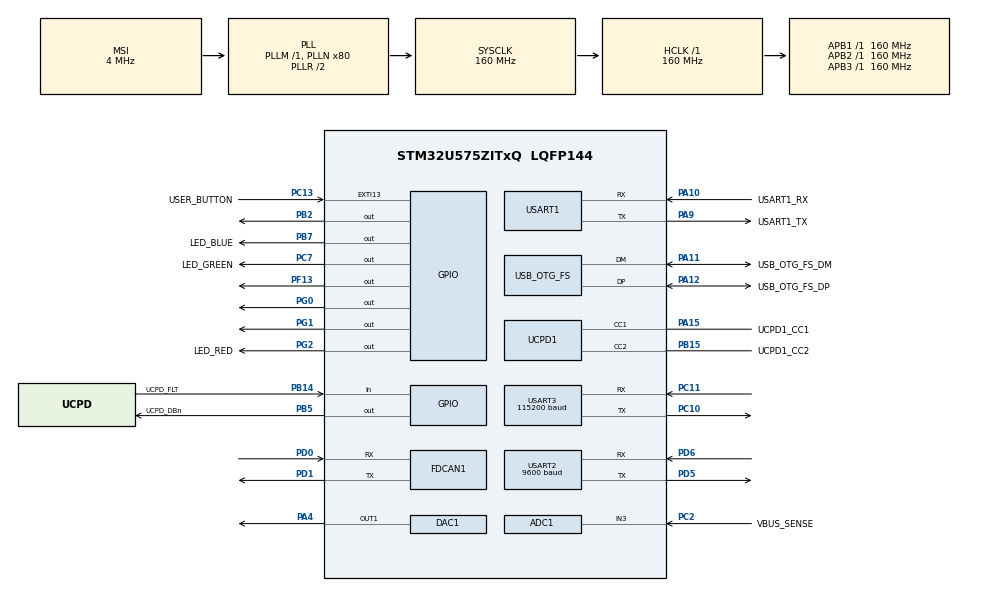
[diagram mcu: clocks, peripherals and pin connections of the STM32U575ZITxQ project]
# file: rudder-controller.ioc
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ADC1.NbrOfConversion=1
ADC1.Resolution=ADC_RESOLUTION_14B
ADC1.master=1
CORTEX_M33_NS.userName=CORTEX_M33
DAC1.DAC_Channel-DAC_OUT1=DAC_CHANNEL_1
FDCAN1.AutoRetransmission=ENABLE
FDCAN1.CalculateBaudRateNominal=500000
FDCAN1.CalculateTimeBitNominal=2000
FDCAN1.CalculateTimeQuantumNominal=100.0
FDCAN1.ClockDivider=FDCAN_CLOCK_DIV4
FDCAN1.DataSyncJumpWidth=16
FDCAN1.DataTimeSeg1=23
FDCAN1.DataTimeSeg2=16
FDCAN1.ExtFiltersNbr=1
FDCAN1.FrameFormat=FDCAN_FRAME_FD_BRS
FDCAN1.NominalPrescaler=4
FDCAN1.NominalSyncJumpWidth=3
FDCAN1.NominalTimeSeg1=16
FDCAN1.NominalTimeSeg2=3
FDCAN1.StdFiltersNbr=1
GPDMA1.CIRCULARMODE_GPDMACH15=ENABLE
GPDMA1.DESTINC_GPDMACH15=DMA_DINC_INCREMENTED
GPDMA1.DESTINC_GPDMACH9=DMA_DINC_INCREMENTED
GPDMA1.IPHANDLE_GPDMACH15-SIMPLEREQUEST_GPDMACH15=__NULL
GPDMA1.IPHANDLE_GPDMACH9-SIMPLEREQUEST_GPDMACH9=__NULL
GPDMA1.REQUEST_GPDMACH15=GPDMA1_REQUEST_USART3_RX
GPDMA1.REQUEST_GPDMACH9=GPDMA1_REQUEST_USART2_RX
Mcu.Family=STM32U5
Mcu.Name=STM32U575ZITxQ
Mcu.Package=LQFP144
NVIC.FDCAN1_IT0_IRQn=true\:0\:0\:false\:false\:true\:true\:true\:true
NVIC.GPDMA1_Channel15_IRQn=true\:0\:0\:false\:false\:true\:false\:true\:true
NVIC.GPDMA1_Channel9_IRQn=true\:0\:0\:false\:false\:true\:false\:true\:true
NVIC.OTG_FS_IRQn=true\:0\:0\:false\:false\:true\:true\:true\:true
NVIC.PriorityGroup=NVIC_PRIORITYGROUP_3
NVIC.TIM7_IRQn=true\:0\:0\:false\:false\:true\:true\:true\:true
NVIC.USART2_IRQn=true\:0\:0\:false\:false\:true\:true\:true\:true
NVIC.USART3_IRQn=true\:0\:0\:false\:false\:true\:true\:true\:true
PA10.GPIO_Label=USART1_RX
PA10.GPIO_PuPd=GPIO_PULLDOWN
PA10.GPIO_Speed=GPIO_SPEED_FREQ_VERY_HIGH
PA10.Mode=Asynchronous
PA10.Signal=USART1_RX
PA11.GPIO_Label=USB_OTG_FS_DM
PA11.GPIO_Speed=GPIO_SPEED_FREQ_VERY_HIGH
PA11.Mode=Device_Only
PA11.Signal=USB_OTG_FS_DM
PA12.GPIO_Label=USB_OTG_FS_DP
PA12.GPIO_Speed=GPIO_SPEED_FREQ_VERY_HIGH
PA12.Mode=Device_Only
PA12.Signal=USB_OTG_FS_DP
PA13\ (JTMS/SWDIO).Mode=Trace_Asynchronous_SW
PA13\ (JTMS/SWDIO).Signal=DEBUG_JTMS-SWDIO
PA14\ (JTCK/SWCLK).Mode=Trace_Asynchronous_SW
PA14\ (JTCK/SWCLK).Signal=DEBUG_JTCK-SWCLK
PA15\ (JTDI).GPIO_Label=UCPD1_CC1
PA15\ (JTDI).Mode=Sink_AllSignals
PA15\ (JTDI).Signal=UCPD1_CC1
PA4.Signal=COMP_DAC11_group
PA9.GPIO_Label=USART1_TX
PA9.GPIO_PuPd=GPIO_PULLDOWN
PA9.GPIO_Speed=GPIO_SPEED_FREQ_VERY_HIGH
PA9.Mode=Asynchronous
PA9.Signal=USART1_TX
PB14.GPIO_Label=UCPD_FLT
PB14.Signal=GPIO_Input
PB15.GPIO_Label=UCPD1_CC2
PB15.Mode=Sink_AllSignals
PB15.Signal=UCPD1_CC2
PB2.Signal=GPIO_Output
PB3\ (JTDO/TRACESWO).Mode=Trace_Asynchronous_SW
PB3\ (JTDO/TRACESWO).Signal=DEBUG_JTDO-SWO
PB5.GPIO_Label=UCPD_DBn
PB5.Signal=GPIO_Output
PB7.GPIO_Label=LED_BLUE
PB7.GPIO_ModeDefaultOutputPP=GPIO_MODE_OUTPUT_PP
PB7.GPIO_PuPd=GPIO_PULLUP
PB7.GPIO_Speed=GPIO_SPEED_FREQ_HIGH
PB7.Signal=GPIO_Output
PC10.Mode=Asynchronous
PC10.Signal=USART3_TX
PC11.Mode=Asynchronous
PC11.Signal=USART3_RX
PC13.GPIO_Label=USER_BUTTON
PC13.GPIO_ModeDefaultEXTI=GPIO_MODE_IT_FALLING
PC13.Signal=GPXTI13
PC14-OSC32_IN\ (PC14).Mode=LSE-External-Oscillator
PC14-OSC32_IN\ (PC14).Signal=RCC_OSC32_IN
PC15-OSC32_OUT\ (PC15).Mode=LSE-External-Oscillator
PC15-OSC32_OUT\ (PC15).Signal=RCC_OSC32_OUT
PC2.GPIO_Label=VBUS_SENSE
PC2.Mode=IN3-Single-Ended
PC2.Signal=ADC1_IN3
PC7.GPIO_Label=LED_GREEN
PC7.GPIO_PuPd=GPIO_PULLUP
PC7.GPIO_Speed=GPIO_SPEED_FREQ_HIGH
PC7.Signal=GPIO_Output
PD0.Mode=FDCAN_Activate
PD0.Signal=FDCAN1_RX
PD1.Mode=FDCAN_Activate
PD1.Signal=FDCAN1_TX
PD5.Mode=Asynchronous
PD5.Signal=USART2_TX
PD6.Mode=Asynchronous
PD6.Signal=USART2_RX
PF13.Signal=GPIO_Output
PG0.Signal=GPIO_Output
PG1.GPIO_PuPd=GPIO_PULLDOWN
PG1.Signal=GPIO_Output
PG2.GPIO_Label=LED_RED
PG2.GPIO_ModeDefaultOutputPP=GPIO_MODE_OUTPUT_PP
PG2.GPIO_PuPd=GPIO_PULLUP
PG2.GPIO_Speed=GPIO_SPEED_FREQ_HIGH
PG2.Signal=GPIO_Output
PWR.PowerMode=PWR_SMPS_SUPPLY
ProjectManager.HeapSize=0x200
ProjectManager.StackSize=0x400
ProjectManager.TargetToolchain=STM32CubeIDE
RCC.ADCFreq_Value=16000000
RCC.AHBFreq_Value=160000000
RCC.APB1Freq_Value=160000000
RCC.APB1TimFreq_Value=160000000
RCC.APB2Freq_Value=160000000
RCC.APB2TimFreq_Value=160000000
RCC.APB3Freq_Value=160000000
RCC.CortexFreq_Value=160000000
RCC.DACCLockSelectionVirtual=RCC_DAC1CLKSOURCE_LSI
RCC.EPOD_VALUE=4000000
RCC.HCLKFreq_Value=160000000
RCC.HSE_VALUE=16000000
RCC.HSI48_VALUE=48000000
RCC.HSI_VALUE=16000000
RCC.LSIDIV_VALUE=32000
RCC.MSI_VALUE=4000000
RCC.PLLFRACN=0
RCC.PLLN=80
RCC.SYSCLKFreq_VALUE=160000000
RCC.SYSCLKSource=RCC_SYSCLKSOURCE_PLLCLK
RCC.USBFreq_Value=48000000
RCC.VCOOutputFreq_Value=320000000
SH.COMP_DAC11_group.0=DAC1_OUT1,DAC_OUT1
TIM7.AutoReloadPreload=TIM_AUTORELOAD_PRELOAD_ENABLE
TIM7.PeriodNoDither=49999
TIM7.Prescaler=31999
USART1.VirtualMode-Asynchronous=VM_ASYNC
USART2.BaudRate=9600
USART2.VirtualMode-Asynchronous=VM_ASYNC
USART3.BaudRate=115200
USART3.VirtualMode-Asynchronous=VM_ASYNC
USB_OTG_FS.VirtualMode=Device_Only
VP_GPDMA1_VS_GPDMACH15.Mode=SIMPLEREQUEST_GPDMACH15
VP_GPDMA1_VS_GPDMACH9.Mode=SIMPLEREQUEST_GPDMACH9
VP_ICACHE_VS_ENABLE_ICACHE_MEMORY.Mode=Memoryregions
VP_ICACHE_VS_ICACHE.Mode=DirectMappedCache
VP_LPBAMQUEUE_VS_QUEUE.Mode=QUEUEMODE
VP_LPBAM_VS_SIG1.Mode=SmartRun
VP_LPBAM_VS_SIG4.Mode=LPDMA1
VP_MEMORYMAP_VS_MEMORYMAP.Mode=CurAppReg
VP_PWR_VS_DBSignals.Mode=DisableDeadBatterySignals
VP_PWR_VS_LPOM.Mode=PowerOptimisation
VP_PWR_VS_SECSignals.Mode=Security/Privilege
VP_PWR_Vdda.Mode=isolationVdda
VP_TIM7_VS_ClockSourceINT.Mode=Enable_Timer
board=NUCLEO-U575ZI-Q

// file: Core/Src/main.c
/* USER CODE BEGIN Header */
/**
  ******************************************************************************
  * @file           : main.c
  * @brief          : Main program body
  ******************************************************************************
  * @attention
  *
  * Copyright (c) 2025 STMicroelectronics.
  * All rights reserved.
  *
  * This software is licensed under terms that can be found in the LICENSE file
  * in the root directory of this software component.
  * If no LICENSE file comes with this software, it is provided AS-IS.
  *
  ******************************************************************************
  */
/* USER CODE END Header */
#include "main.h"

/* USER CODE BEGIN Includes */

#include "RUDDER.h"
#include "RUDDER_PARAMS.h"
#include "RUDDER_UTILS.h"
//#include "RUDDERPID.h"
#include "BRITER.h"
#include "PLRS_IMU.h"
#include <stdio.h>
#include <stdlib.h>
#include <can.h>
#include <string.h>

/* USER CODE END Includes */

/* USER CODE BEGIN PM */
//#define ZEROING_CALIBRATION

#define CAN_TX_DELAY_MS 100
#define RUDDER_TO_MAINFRAME_DEBUG_ID 0x204
#define RUDDER_PID_COEFFS 0x200
#define CONTROL_MODEL_PARAMS_ID 0x210
#define IMU_HEADING_TIMEOUT_MS 200
#define IMU_ATTITUDE_TIMEOUT_MS 200
/* USER CODE END PM */

ADC_HandleTypeDef hadc1;

DAC_HandleTypeDef hdac1;

FDCAN_HandleTypeDef hfdcan1;

TIM_HandleTypeDef htim7;

UART_HandleTypeDef huart1;
UART_HandleTypeDef huart2;
UART_HandleTypeDef huart3;
DMA_HandleTypeDef handle_GPDMA1_Channel9;
DMA_NodeTypeDef Node_GPDMA1_Channel15;
DMA_QListTypeDef List_GPDMA1_Channel15;
DMA_HandleTypeDef handle_GPDMA1_Channel15;

PCD_HandleTypeDef hpcd_USB_OTG_FS;

/* USER CODE BEGIN PV */
FDCAN_FilterTypeDef sFilterConfig;
FDCAN_TxHeaderTypeDef TxHeader1;
FDCAN_RxHeaderTypeDef RxHeader1;
FDCAN_RxHeaderTypeDef RxHeader2;
uint8_t RxData1[64];
uint8_t RxData2[64];
//HAL_StatusTypeDef CanStartStatus; Commented out arbitrarily

float desiredRudderAngle;

uint8_t rudder_debug_frame[16] = {0};

PLRS_IMU imu;

uint32_t can_tx_failures = 0;
uint32_t can_rx_failures = 0;

//0 = auto mode, 1 = manual
uint8_t controller_mode = 1;

/* USER CODE END PV */

void SystemClock_Config(void);
static void SystemPower_Config(void);
static void MX_GPIO_Init(void);
static void MX_GPDMA1_Init(void);
static void MX_ICACHE_Init(void);
static void MX_UCPD1_Init(void);
static void MX_ADC1_Init(void);
static void MX_USB_OTG_FS_PCD_Init(void);
static void MX_USART2_UART_Init(void);
static void MX_USART1_UART_Init(void);
static void MX_DAC1_Init(void);
static void MX_FDCAN1_Init(void);
static void MX_USART3_UART_Init(void);
static void MX_TIM7_Init(void);
/* USER CODE BEGIN PFP */
#ifdef __GNUC__
/* With GCC/RAISONANCE, small printf (option LD Linker->Libraries->Small printf
   set to 'Yes') calls __io_putchar() */
#define PUTCHAR_PROTOTYPE int __io_putchar(int ch)
#else
#define PUTCHAR_PROTOTYPE int fputc(int ch, FILE *f)
#endif /* __GNUC__ */

static uint8_t byte_to_dlc(uint8_t len);
static uint8_t dlc_to_bytes(uint8_t len);
/* USER CODE END PFP */

/* USER CODE BEGIN 0 */

BRITER * encoderObject;
int get_encoder_delta(int prev, int curr) {
      int delta = curr - prev;
      if (delta > 512) delta -= 1024;
      if (delta < -512) delta += 1024;
      return delta;
  }

/* USER CODE END 0 */

int main(void)
{

  /* MCU Configuration--------------------------------------------------------*/

  /* Reset of all peripherals, Initializes the Flash interface and the Systick. */
  HAL_Init();

  /* Configure the System Power */
  SystemPower_Config();

  /* Configure the system clock */
  SystemClock_Config();

  /* USER CODE BEGIN SysInit */
  PIDControllerFixed fixedController = getRudderFixedParams();
  initController(fixedController);

//  float desiredRudderAngle = 0.0f;
  /* USER CODE END SysInit */

  /* Initialize all configured peripherals */
  MX_GPIO_Init();
  MX_GPDMA1_Init();
  MX_ICACHE_Init();
  MX_UCPD1_Init();
  MX_ADC1_Init();
  MX_USB_OTG_FS_PCD_Init();
  MX_USART2_UART_Init();
  MX_USART1_UART_Init();
  MX_DAC1_Init();
  MX_FDCAN1_Init();
  MX_USART3_UART_Init();
  MX_TIM7_Init();
  /* USER CODE BEGIN 2 */

  //CAN Setup

    // CAN Library setup

    CAN_Init(&hfdcan1, 0x131); //put in hbid

    // /* Configure standard ID reception filter to Rx buffer 0 */
    // sFilterConfig.IdType = FDCAN_STANDARD_ID;
    // sFilterConfig.FilterIndex = 0;
    // sFilterConfig.FilterType = FDCAN_FILTER_RANGE;
    // sFilterConfig.FilterConfig = FDCAN_FILTER_TO_RXFIFO0;
    // sFilterConfig.FilterID1 = 0x000;
    // sFilterConfig.FilterID2 = 0x7FF;
    // if (HAL_FDCAN_ConfigFilter(&hfdcan1, &sFilterConfig) != HAL_OK)
    // {
    //   Error_Handler();
    // }

    // /* Configure extended ID reception filter to Rx FIFO 1 */
    // sFilterConfig.IdType = FDCAN_EXTENDED_ID;
    // sFilterConfig.FilterIndex = 0;
    // sFilterConfig.FilterType = FDCAN_FILTER_RANGE_NO_EIDM;
    // sFilterConfig.FilterConfig = FDCAN_FILTER_TO_RXFIFO1;
    // sFilterConfig.FilterID1 = 0x1111111;
    // sFilterConfig.FilterID2 = 0x2222222;
    // if (HAL_FDCAN_ConfigFilter(&hfdcan1, &sFilterConfig) != HAL_OK)
    // {
    //   Error_Handler();
    // }

    // /* Configure global filter:
    //    Filter all remote frames with STD and EXT ID
    //    Reject non matching frames with STD ID and EXT ID */
    // if (HAL_FDCAN_ConfigGlobalFilter(&hfdcan1, FDCAN_ACCEPT_IN_RX_FIFO0, FDCAN_ACCEPT_IN_RX_FIFO0, FDCAN_FILTER_REMOTE, FDCAN_FILTER_REMOTE) != HAL_OK)
    // {
    //     Error_Handler();
    // }

    // /*##-2 Start FDCAN controller (continuous listening CAN bus) ##############*/
    // CanStartStatus = HAL_FDCAN_Start(&hfdcan1);
    // if (CanStartStatus != HAL_OK)
    // {
    //   Error_Handler();
    // }

    // if (HAL_FDCAN_ActivateNotification(&hfdcan1, FDCAN_IT_RX_FIFO0_NEW_MESSAGE, 0) != HAL_OK)
    // {
    //   Error_Handler();
    // }

    // if (HAL_FDCAN_ActivateNotification(&hfdcan1, FDCAN_IT_RX_FIFO1_NEW_MESSAGE, 0) != HAL_OK)
    // {
    //   Error_Handler();
    // }

    uint32_t can_frame_tx_time = HAL_GetTick();
    HAL_GPIO_WritePin(GPIOG, GPIO_PIN_0, GPIO_PIN_SET);
    HAL_GPIO_WritePin(GPIOB, GPIO_PIN_2, GPIO_PIN_SET);
    encoderObject = BRITER__create(&huart2, 20);
    MOTOR_CONFIG motorConfig = {
            .motorDacPeripheral = &hdac1,
            .motorDacChannel = DAC_CHANNEL_1,
            .enableGPIOPeripheral = GPIOG,
            .enableGPIOPin = GPIO_PIN_1,
            .reverseGPIOPeripheral = GPIOF,
            .reverseGPIOPin = GPIO_PIN_13
      };
    Setup_Motor(motorConfig);
    HAL_Delay(1000);
   Set_Motor_Raw(0);

   HAL_Delay(2000);
   Enable_Motor();

    PLRS_IMU__init(&imu, &huart3);

  /* USER CODE END 2 */

  /* Infinite loop */
  /* USER CODE BEGIN WHILE */
  while (1)
  {
	  PLRS_IMU__service(&imu);

	  float imuHeading;
	  if (PLRS_IMU__isFresh(&imu, IMU_HEADING_TIMEOUT_MS) &&
	      PLRS_IMU__getHeading(&imu, &imuHeading)) {
	    // Link reports compass degrees in -180..180; the control model and the
	    // desired heading from CAN use 0..360.
	    if (imuHeading < 0.0f) imuHeading += 360.0f;

	    // heading_valid gates the CONTROL input only: a free-drifting heading
	    // (no GNSS anchor) must not steer, so currentHeading holds the last
	    // valid value. Telemetry still publishes every fresh heading, with the
	    // valid flag in byte 5 so the mainframe can judge it.
	    if (PLRS_IMU__isHeadingValid(&imu)) {
	      controller.live.sailingState.currentHeading = imuHeading;
	    }

	    uint16_t heading_cd = (uint16_t)(imuHeading * 100.0f);
	    rudder_debug_frame[5] = PLRS_IMU__isHeadingValid(&imu) ? 1 : 0;
	    rudder_debug_frame[6] = heading_cd & 0xFF;
	    rudder_debug_frame[7] = (heading_cd >> 8) & 0xFF;
	  }

	  float imuHeel, imuYawRate;
	  if (PLRS_IMU__isAttitudeFresh(&imu, IMU_ATTITUDE_TIMEOUT_MS) &&
	      PLRS_IMU__getHeel(&imu, &imuHeel) &&
	      PLRS_IMU__getYawRate(&imu, &imuYawRate)) {
	    controller.live.sailingState.heelAngle = imuHeel;
	    // Control model expects rad/s; the link reports deg/s.
	    controller.live.sailingState.angularVelocity = imuYawRate * 0.0174532925f;
	  }
	  HAL_Delay(50);
//	  printf("here\r\n");

	#ifdef ZEROING_CALIBRATION
	  encoderZeroing(&huart1, encoderObject);
	#endif
//
	  if (controller_mode == 0)
		  runPID(&desiredRudderAngle);

    	  	//Update CAN frame
    uint16_t currentError = controller.live.liveValues.errorValue * 100;
//    printf("current error: %f \r\n", controller.live.liveValues.errorValue);
    rudder_debug_frame[14] = currentError & 0xFF;
    rudder_debug_frame[15] = (((uint16_t) currentError) >> 8) & 0xFF;

    uint16_t currentDerivative = (controller.live.liveValues.derivativeValue + 300) * 100;
    rudder_debug_frame[12] = currentDerivative & 0xFF;
//    printf("currentderivative: %f \r\n", controller.live.liveValues.derivativeValue);
    rudder_debug_frame[13] = (((uint16_t) currentDerivative) >> 8) & 0xFF;

    uint16_t currentIntegral = controller.live.liveValues.integralValue + 30000;
    rudder_debug_frame[10] = currentIntegral & 0xFF;
//    printf("current integral: %u \r\n", currentIntegral);
    rudder_debug_frame[11] = (((uint16_t) currentIntegral) >> 8) & 0xFF;

    uint16_t current_rudder_angle = (BRITER__floatAngle(encoderObject) + 90) * 100;
    rudder_debug_frame[0] = current_rudder_angle & 0xFF;
    rudder_debug_frame[1] = (((uint16_t) current_rudder_angle) >> 8) & 0xFF;
//    printf("Rudder angle: %f\r\n", BRITER__floatAngle(encoderObject));

    uint16_t commanded_rudder_angle = (desiredRudderAngle + 90) * 100;
//    printf("Commanded rudder angle: %hu\n desiredRudderAngle: %f\n", commanded_rudder_angle, desiredRudderAngle);
	rudder_debug_frame[8] = commanded_rudder_angle & 0xFF;
	rudder_debug_frame[9] = (((uint16_t) commanded_rudder_angle) >> 8) & 0xFF;

	  //Transmit CAN message after so long
	  // if (can_frame_tx_time + CAN_TX_DELAY_MS < HAL_GetTick()){
		//   TxHeader1.Identifier         = RUDDER_TO_MAINFRAME_DEBUG_ID;
		//   TxHeader1.IdType             = (RUDDER_TO_MAINFRAME_DEBUG_ID>0x7FF) ? FDCAN_EXTENDED_ID : FDCAN_STANDARD_ID;
		//   TxHeader1.TxFrameType        = FDCAN_DATA_FRAME;
		//   TxHeader1.DataLength         = byte_to_dlc(16);  /* HAL expects DLC in bits [19:16] */
		//   TxHeader1.ErrorStateIndicator= FDCAN_ESI_ACTIVE;
		//   TxHeader1.BitRateSwitch      = FDCAN_BRS_ON;
		//   TxHeader1.FDFormat           = FDCAN_FD_CAN;
		//   TxHeader1.TxEventFifoControl = FDCAN_STORE_TX_EVENTS;

		//   if (HAL_FDCAN_AddMessageToTxFifoQ(&hfdcan1,&TxHeader1,rudder_debug_frame)!=HAL_OK) {
		// 	printf("Err: CAN TX\r\n");
		//   }
	  // }

    if (can_frame_tx_time + CAN_TX_DELAY_MS < HAL_GetTick()){
      if(CAN_Transmit(RUDDER_TO_MAINFRAME_DEBUG_ID, FDCAN_STANDARD_ID, FDCAN_DLC_BYTES_16, rudder_debug_frame, &hfdcan1) != HAL_OK){
        can_tx_failures++;
      }
      can_frame_tx_time = HAL_GetTick();
    }

//    printf("Running\r\n");

	}

    /* USER CODE END WHILE */

}

void SystemClock_Config(void)
{
  RCC_OscInitTypeDef RCC_OscInitStruct = {0};
  RCC_ClkInitTypeDef RCC_ClkInitStruct = {0};

  /** Configure the main internal regulator output voltage
  */
  if (HAL_PWREx_ControlVoltageScaling(PWR_REGULATOR_VOLTAGE_SCALE1) != HAL_OK)
  {
    Error_Handler();
  }

  /** Initializes the CPU, AHB and APB buses clocks
  */
  RCC_OscInitStruct.OscillatorType = RCC_OSCILLATORTYPE_HSI48|RCC_OSCILLATORTYPE_HSI
                              |RCC_OSCILLATORTYPE_LSI|RCC_OSCILLATORTYPE_MSI;
  RCC_OscInitStruct.HSIState = RCC_HSI_ON;
  RCC_OscInitStruct.HSI48State = RCC_HSI48_ON;
  RCC_OscInitStruct.HSICalibrationValue = RCC_HSICALIBRATION_DEFAULT;
  RCC_OscInitStruct.LSIState = RCC_LSI_ON;
  RCC_OscInitStruct.MSIState = RCC_MSI_ON;
  RCC_OscInitStruct.MSICalibrationValue = RCC_MSICALIBRATION_DEFAULT;
  RCC_OscInitStruct.MSIClockRange = RCC_MSIRANGE_4;
  RCC_OscInitStruct.LSIDiv = RCC_LSI_DIV1;
  RCC_OscInitStruct.PLL.PLLState = RCC_PLL_ON;
  RCC_OscInitStruct.PLL.PLLSource = RCC_PLLSOURCE_MSI;
  RCC_OscInitStruct.PLL.PLLMBOOST = RCC_PLLMBOOST_DIV1;
  RCC_OscInitStruct.PLL.PLLM = 1;
  RCC_OscInitStruct.PLL.PLLN = 80;
  RCC_OscInitStruct.PLL.PLLP = 2;
  RCC_OscInitStruct.PLL.PLLQ = 2;
  RCC_OscInitStruct.PLL.PLLR = 2;
  RCC_OscInitStruct.PLL.PLLRGE = RCC_PLLVCIRANGE_0;
  RCC_OscInitStruct.PLL.PLLFRACN = 0;
  if (HAL_RCC_OscConfig(&RCC_OscInitStruct) != HAL_OK)
  {
    Error_Handler();
  }

  /** Initializes the CPU, AHB and APB buses clocks
  */
  RCC_ClkInitStruct.ClockType = RCC_CLOCKTYPE_HCLK|RCC_CLOCKTYPE_SYSCLK
                              |RCC_CLOCKTYPE_PCLK1|RCC_CLOCKTYPE_PCLK2
                              |RCC_CLOCKTYPE_PCLK3;
  RCC_ClkInitStruct.SYSCLKSource = RCC_SYSCLKSOURCE_PLLCLK;
  RCC_ClkInitStruct.AHBCLKDivider = RCC_SYSCLK_DIV1;
  RCC_ClkInitStruct.APB1CLKDivider = RCC_HCLK_DIV1;
  RCC_ClkInitStruct.APB2CLKDivider = RCC_HCLK_DIV1;
  RCC_ClkInitStruct.APB3CLKDivider = RCC_HCLK_DIV1;

  if (HAL_RCC_ClockConfig(&RCC_ClkInitStruct, FLASH_LATENCY_4) != HAL_OK)
  {
    Error_Handler();
  }
}

/**
  * @brief Power Configuration
  * @retval None
  */
static void SystemPower_Config(void)
{
  HAL_PWREx_EnableVddIO2();

  /*
   * Switch to SMPS regulator instead of LDO
   */
  if (HAL_PWREx_ConfigSupply(PWR_SMPS_SUPPLY) != HAL_OK)
  {
    Error_Handler();
  }
}

static void MX_ADC1_Init(void)
{

  /** Common config
  */
  hadc1.Instance = ADC1;
  hadc1.Init.ClockPrescaler = ADC_CLOCK_ASYNC_DIV1;
  hadc1.Init.Resolution = ADC_RESOLUTION_14B;
  hadc1.Init.GainCompensation = 0;
  hadc1.Init.ScanConvMode = ADC_SCAN_DISABLE;
  hadc1.Init.EOCSelection = ADC_EOC_SINGLE_CONV;
  hadc1.Init.LowPowerAutoWait = DISABLE;
  hadc1.Init.ContinuousConvMode = DISABLE;
  hadc1.Init.NbrOfConversion = 1;
  hadc1.Init.DiscontinuousConvMode = DISABLE;
  hadc1.Init.DMAContinuousRequests = DISABLE;
  hadc1.Init.TriggerFrequencyMode = ADC_TRIGGER_FREQ_HIGH;
  hadc1.Init.Overrun = ADC_OVR_DATA_PRESERVED;
  hadc1.Init.LeftBitShift = ADC_LEFTBITSHIFT_NONE;
  hadc1.Init.ConversionDataManagement = ADC_CONVERSIONDATA_DR;
  hadc1.Init.OversamplingMode = DISABLE;
  if (HAL_ADC_Init(&hadc1) != HAL_OK)
  {
    Error_Handler();
  }

}

static void MX_DAC1_Init(void)
{

  DAC_ChannelConfTypeDef sConfig = {0};
  DAC_AutonomousModeConfTypeDef sAutonomousMode = {0};

  /** DAC Initialization
  */
  hdac1.Instance = DAC1;
  if (HAL_DAC_Init(&hdac1) != HAL_OK)
  {
    Error_Handler();
  }

  /** DAC channel OUT1 config
  */
  sConfig.DAC_HighFrequency = DAC_HIGH_FREQUENCY_INTERFACE_MODE_DISABLE;
  sConfig.DAC_DMADoubleDataMode = DISABLE;
  sConfig.DAC_SignedFormat = DISABLE;
  sConfig.DAC_SampleAndHold = DAC_SAMPLEANDHOLD_DISABLE;
  sConfig.DAC_Trigger = DAC_TRIGGER_NONE;
  sConfig.DAC_OutputBuffer = DAC_OUTPUTBUFFER_DISABLE;
  sConfig.DAC_ConnectOnChipPeripheral = DAC_CHIPCONNECT_EXTERNAL;
  sConfig.DAC_UserTrimming = DAC_TRIMMING_FACTORY;
  if (HAL_DAC_ConfigChannel(&hdac1, &sConfig, DAC_CHANNEL_1) != HAL_OK)
  {
    Error_Handler();
  }

  /** Configure Autonomous Mode
  */
  sAutonomousMode.AutonomousModeState = DAC_AUTONOMOUS_MODE_DISABLE;
  if (HAL_DACEx_SetConfigAutonomousMode(&hdac1, &sAutonomousMode) != HAL_OK)
  {
    Error_Handler();
  }

}

static void MX_FDCAN1_Init(void)
{

  hfdcan1.Instance = FDCAN1;
  hfdcan1.Init.ClockDivider = FDCAN_CLOCK_DIV4;
  hfdcan1.Init.FrameFormat = FDCAN_FRAME_FD_BRS;
  hfdcan1.Init.Mode = FDCAN_MODE_NORMAL;
  hfdcan1.Init.AutoRetransmission = ENABLE;
  hfdcan1.Init.TransmitPause = DISABLE;
  hfdcan1.Init.ProtocolException = DISABLE;
  hfdcan1.Init.NominalPrescaler = 4;
  hfdcan1.Init.NominalSyncJumpWidth = 3;
  hfdcan1.Init.NominalTimeSeg1 = 16;
  hfdcan1.Init.NominalTimeSeg2 = 3;
  hfdcan1.Init.DataPrescaler = 1;
  hfdcan1.Init.DataSyncJumpWidth = 16;
  hfdcan1.Init.DataTimeSeg1 = 23;
  hfdcan1.Init.DataTimeSeg2 = 16;
  hfdcan1.Init.StdFiltersNbr = 1;
  hfdcan1.Init.ExtFiltersNbr = 1;
  hfdcan1.Init.TxFifoQueueMode = FDCAN_TX_FIFO_OPERATION;
  if (HAL_FDCAN_Init(&hfdcan1) != HAL_OK)
  {
    Error_Handler();
  }

}

static void MX_GPDMA1_Init(void)
{

  /* Peripheral clock enable */
  __HAL_RCC_GPDMA1_CLK_ENABLE();

  /* GPDMA1 interrupt Init */
    HAL_NVIC_SetPriority(GPDMA1_Channel9_IRQn, 0, 0);
    HAL_NVIC_EnableIRQ(GPDMA1_Channel9_IRQn);
    HAL_NVIC_SetPriority(GPDMA1_Channel15_IRQn, 0, 0);
    HAL_NVIC_EnableIRQ(GPDMA1_Channel15_IRQn);

}

static void MX_ICACHE_Init(void)
{

  /** Enable instruction cache in 1-way (direct mapped cache)
  */
  if (HAL_ICACHE_ConfigAssociativityMode(ICACHE_1WAY) != HAL_OK)
  {
    Error_Handler();
  }
  if (HAL_ICACHE_Enable() != HAL_OK)
  {
    Error_Handler();
  }

}

static void MX_TIM7_Init(void)
{

  TIM_MasterConfigTypeDef sMasterConfig = {0};

  htim7.Instance = TIM7;
  htim7.Init.Prescaler = 31999;
  htim7.Init.CounterMode = TIM_COUNTERMODE_UP;
  htim7.Init.Period = 49999;
  htim7.Init.AutoReloadPreload = TIM_AUTORELOAD_PRELOAD_ENABLE;
  if (HAL_TIM_Base_Init(&htim7) != HAL_OK)
  {
    Error_Handler();
  }
  sMasterConfig.MasterOutputTrigger = TIM_TRGO_RESET;
  sMasterConfig.MasterSlaveMode = TIM_MASTERSLAVEMODE_DISABLE;
  if (HAL_TIMEx_MasterConfigSynchronization(&htim7, &sMasterConfig) != HAL_OK)
  {
    Error_Handler();
  }

}

static void MX_UCPD1_Init(void)
{

  LL_GPIO_InitTypeDef GPIO_InitStruct = {0};

  /* Peripheral clock enable */
  LL_APB1_GRP2_EnableClock(LL_APB1_GRP2_PERIPH_UCPD1);

  LL_AHB2_GRP1_EnableClock(LL_AHB2_GRP1_PERIPH_GPIOB);
  LL_AHB2_GRP1_EnableClock(LL_AHB2_GRP1_PERIPH_GPIOA);
  /**UCPD1 GPIO Configuration
  PB15   ------> UCPD1_CC2
  PA15 (JTDI)   ------> UCPD1_CC1
  */
  GPIO_InitStruct.Pin = LL_GPIO_PIN_15;
  GPIO_InitStruct.Mode = LL_GPIO_MODE_ANALOG;
  GPIO_InitStruct.Pull = LL_GPIO_PULL_NO;
  LL_GPIO_Init(GPIOB, &GPIO_InitStruct);

  GPIO_InitStruct.Pin = LL_GPIO_PIN_15;
  GPIO_InitStruct.Mode = LL_GPIO_MODE_ANALOG;
  GPIO_InitStruct.Pull = LL_GPIO_PULL_NO;
  LL_GPIO_Init(GPIOA, &GPIO_InitStruct);

}

static void MX_USART1_UART_Init(void)
{

  huart1.Instance = USART1;
  huart1.Init.BaudRate = 115200;
  huart1.Init.WordLength = UART_WORDLENGTH_8B;
  huart1.Init.StopBits = UART_STOPBITS_1;
  huart1.Init.Parity = UART_PARITY_NONE;
  huart1.Init.Mode = UART_MODE_TX_RX;
  huart1.Init.HwFlowCtl = UART_HWCONTROL_NONE;
  huart1.Init.OverSampling = UART_OVERSAMPLING_16;
  huart1.Init.OneBitSampling = UART_ONE_BIT_SAMPLE_DISABLE;
  huart1.Init.ClockPrescaler = UART_PRESCALER_DIV1;
  huart1.AdvancedInit.AdvFeatureInit = UART_ADVFEATURE_NO_INIT;
  if (HAL_UART_Init(&huart1) != HAL_OK)
  {
    Error_Handler();
  }
  if (HAL_UARTEx_SetTxFifoThreshold(&huart1, UART_TXFIFO_THRESHOLD_1_8) != HAL_OK)
  {
    Error_Handler();
  }
  if (HAL_UARTEx_SetRxFifoThreshold(&huart1, UART_RXFIFO_THRESHOLD_1_8) != HAL_OK)
  {
    Error_Handler();
  }
  if (HAL_UARTEx_DisableFifoMode(&huart1) != HAL_OK)
  {
    Error_Handler();
  }

}

static void MX_USART2_UART_Init(void)
{

  huart2.Instance = USART2;
  huart2.Init.BaudRate = 9600;
  huart2.Init.WordLength = UART_WORDLENGTH_8B;
  huart2.Init.StopBits = UART_STOPBITS_1;
  huart2.Init.Parity = UART_PARITY_NONE;
  huart2.Init.Mode = UART_MODE_TX_RX;
  huart2.Init.HwFlowCtl = UART_HWCONTROL_NONE;
  huart2.Init.OverSampling = UART_OVERSAMPLING_16;
  huart2.Init.OneBitSampling = UART_ONE_BIT_SAMPLE_DISABLE;
  huart2.Init.ClockPrescaler = UART_PRESCALER_DIV1;
  huart2.AdvancedInit.AdvFeatureInit = UART_ADVFEATURE_NO_INIT;
  if (HAL_UART_Init(&huart2) != HAL_OK)
  {
    Error_Handler();
  }
  if (HAL_UARTEx_SetTxFifoThreshold(&huart2, UART_TXFIFO_THRESHOLD_1_8) != HAL_OK)
  {
    Error_Handler();
  }
  if (HAL_UARTEx_SetRxFifoThreshold(&huart2, UART_RXFIFO_THRESHOLD_1_8) != HAL_OK)
  {
    Error_Handler();
  }
  if (HAL_UARTEx_DisableFifoMode(&huart2) != HAL_OK)
  {
    Error_Handler();
  }

}

static void MX_USART3_UART_Init(void)
{

  huart3.Instance = USART3;
  huart3.Init.BaudRate = 115200;
  huart3.Init.WordLength = UART_WORDLENGTH_8B;
  huart3.Init.StopBits = UART_STOPBITS_1;
  huart3.Init.Parity = UART_PARITY_NONE;
  huart3.Init.Mode = UART_MODE_TX_RX;
  huart3.Init.HwFlowCtl = UART_HWCONTROL_NONE;
  huart3.Init.OverSampling = UART_OVERSAMPLING_16;
  huart3.Init.OneBitSampling = UART_ONE_BIT_SAMPLE_DISABLE;
  huart3.Init.ClockPrescaler = UART_PRESCALER_DIV1;
  huart3.AdvancedInit.AdvFeatureInit = UART_ADVFEATURE_NO_INIT;
  if (HAL_UART_Init(&huart3) != HAL_OK)
  {
    Error_Handler();
  }
  if (HAL_UARTEx_SetTxFifoThreshold(&huart3, UART_TXFIFO_THRESHOLD_1_8) != HAL_OK)
  {
    Error_Handler();
  }
  if (HAL_UARTEx_SetRxFifoThreshold(&huart3, UART_RXFIFO_THRESHOLD_1_8) != HAL_OK)
  {
    Error_Handler();
  }
  if (HAL_UARTEx_DisableFifoMode(&huart3) != HAL_OK)
  {
    Error_Handler();
  }

}

static void MX_USB_OTG_FS_PCD_Init(void)
{

  hpcd_USB_OTG_FS.Instance = USB_OTG_FS;
  hpcd_USB_OTG_FS.Init.dev_endpoints = 6;
  hpcd_USB_OTG_FS.Init.speed = PCD_SPEED_FULL;
  hpcd_USB_OTG_FS.Init.phy_itface = PCD_PHY_EMBEDDED;
  hpcd_USB_OTG_FS.Init.Sof_enable = DISABLE;
  hpcd_USB_OTG_FS.Init.low_power_enable = DISABLE;
  hpcd_USB_OTG_FS.Init.lpm_enable = DISABLE;
  hpcd_USB_OTG_FS.Init.battery_charging_enable = DISABLE;
  hpcd_USB_OTG_FS.Init.use_dedicated_ep1 = DISABLE;
  hpcd_USB_OTG_FS.Init.vbus_sensing_enable = DISABLE;
  hpcd_USB_OTG_FS.Init.dma_enable = DISABLE;
  if (HAL_PCD_Init(&hpcd_USB_OTG_FS) != HAL_OK)
  {
    Error_Handler();
  }

}

static void MX_GPIO_Init(void)
{
  GPIO_InitTypeDef GPIO_InitStruct = {0};

  /* GPIO Ports Clock Enable */
  __HAL_RCC_GPIOC_CLK_ENABLE();
  __HAL_RCC_GPIOA_CLK_ENABLE();
  __HAL_RCC_GPIOB_CLK_ENABLE();
  __HAL_RCC_GPIOF_CLK_ENABLE();
  __HAL_RCC_GPIOG_CLK_ENABLE();
  __HAL_RCC_GPIOD_CLK_ENABLE();

  /*Configure GPIO pin Output Level */
  HAL_GPIO_WritePin(GPIOB, GPIO_PIN_2|UCPD_DBn_Pin|LED_BLUE_Pin, GPIO_PIN_RESET);

  /*Configure GPIO pin Output Level */
  HAL_GPIO_WritePin(GPIOF, GPIO_PIN_13, GPIO_PIN_RESET);

  /*Configure GPIO pin Output Level */
  HAL_GPIO_WritePin(GPIOG, GPIO_PIN_0|GPIO_PIN_1|LED_RED_Pin, GPIO_PIN_RESET);

  /*Configure GPIO pin Output Level */
  HAL_GPIO_WritePin(LED_GREEN_GPIO_Port, LED_GREEN_Pin, GPIO_PIN_RESET);

  /*Configure GPIO pin : USER_BUTTON_Pin */
  GPIO_InitStruct.Pin = USER_BUTTON_Pin;
  GPIO_InitStruct.Mode = GPIO_MODE_IT_FALLING;
  GPIO_InitStruct.Pull = GPIO_NOPULL;
  HAL_GPIO_Init(USER_BUTTON_GPIO_Port, &GPIO_InitStruct);

  /*Configure GPIO pins : PB2 UCPD_DBn_Pin */
  GPIO_InitStruct.Pin = GPIO_PIN_2|UCPD_DBn_Pin;
  GPIO_InitStruct.Mode = GPIO_MODE_OUTPUT_PP;
  GPIO_InitStruct.Pull = GPIO_NOPULL;
  GPIO_InitStruct.Speed = GPIO_SPEED_FREQ_LOW;
  HAL_GPIO_Init(GPIOB, &GPIO_InitStruct);

  /*Configure GPIO pin : PF13 */
  GPIO_InitStruct.Pin = GPIO_PIN_13;
  GPIO_InitStruct.Mode = GPIO_MODE_OUTPUT_PP;
  GPIO_InitStruct.Pull = GPIO_NOPULL;
  GPIO_InitStruct.Speed = GPIO_SPEED_FREQ_LOW;
  HAL_GPIO_Init(GPIOF, &GPIO_InitStruct);

  /*Configure GPIO pin : PG0 */
  GPIO_InitStruct.Pin = GPIO_PIN_0;
  GPIO_InitStruct.Mode = GPIO_MODE_OUTPUT_PP;
  GPIO_InitStruct.Pull = GPIO_NOPULL;
  GPIO_InitStruct.Speed = GPIO_SPEED_FREQ_LOW;
  HAL_GPIO_Init(GPIOG, &GPIO_InitStruct);

  /*Configure GPIO pin : PG1 */
  GPIO_InitStruct.Pin = GPIO_PIN_1;
  GPIO_InitStruct.Mode = GPIO_MODE_OUTPUT_PP;
  GPIO_InitStruct.Pull = GPIO_PULLDOWN;
  GPIO_InitStruct.Speed = GPIO_SPEED_FREQ_LOW;
  HAL_GPIO_Init(GPIOG, &GPIO_InitStruct);

  /*Configure GPIO pin : UCPD_FLT_Pin */
  GPIO_InitStruct.Pin = UCPD_FLT_Pin;
  GPIO_InitStruct.Mode = GPIO_MODE_INPUT;
  GPIO_InitStruct.Pull = GPIO_NOPULL;
  HAL_GPIO_Init(UCPD_FLT_GPIO_Port, &GPIO_InitStruct);

  /*Configure GPIO pin : LED_RED_Pin */
  GPIO_InitStruct.Pin = LED_RED_Pin;
  GPIO_InitStruct.Mode = GPIO_MODE_OUTPUT_PP;
  GPIO_InitStruct.Pull = GPIO_PULLUP;
  GPIO_InitStruct.Speed = GPIO_SPEED_FREQ_HIGH;
  HAL_GPIO_Init(LED_RED_GPIO_Port, &GPIO_InitStruct);

  /*Configure GPIO pin : LED_GREEN_Pin */
  GPIO_InitStruct.Pin = LED_GREEN_Pin;
  GPIO_InitStruct.Mode = GPIO_MODE_OUTPUT_PP;
  GPIO_InitStruct.Pull = GPIO_PULLUP;
  GPIO_InitStruct.Speed = GPIO_SPEED_FREQ_HIGH;
  HAL_GPIO_Init(LED_GREEN_GPIO_Port, &GPIO_InitStruct);

  /*Configure GPIO pin : LED_BLUE_Pin */
  GPIO_InitStruct.Pin = LED_BLUE_Pin;
  GPIO_InitStruct.Mode = GPIO_MODE_OUTPUT_PP;
  GPIO_InitStruct.Pull = GPIO_PULLUP;
  GPIO_InitStruct.Speed = GPIO_SPEED_FREQ_HIGH;
  HAL_GPIO_Init(LED_BLUE_GPIO_Port, &GPIO_InitStruct);

}

/* USER CODE BEGIN 4 */
PUTCHAR_PROTOTYPE
{
  /* Place your implementation of fputc here */
  /* e.g. write a character to the USART1 and Loop until the end of transmission */
  HAL_UART_Transmit(&huart1, (uint8_t *)&ch, 1, 0xFFFF);

  return ch;
}

void HAL_UARTEx_RxEventCallback(UART_HandleTypeDef *huart, uint16_t size) {
	BRITER__handleDMA(encoderObject, huart, size);
	#ifndef ZEROING_CALIBRATION
		PI_Motor(desiredRudderAngle, BRITER__floatAngle(encoderObject), BRITER__getLastReadTimestamp(encoderObject));
	#endif
}

static uint8_t dlc_to_bytes(uint8_t dlc) {
    static const uint8_t dlc_lut[16] = {
        0, 1, 2, 3, 4, 5, 6, 7, 8, 12, 16, 20, 24, 32, 48, 64
    };
    return dlc_lut[dlc & 0x0F];
}

static uint8_t byte_to_dlc(uint8_t len) {
	if (len <= 8) return len;
    else if (len == 12) return 9;
    else if (len == 16) return 10;
    else if (len == 20) return 11;
    else if (len == 24) return 12;
    else if (len == 32) return 13;
    else if (len == 48) return 14;
    else return 15;
}

uint32_t little_endian_bytes_to_uint(const uint8_t *bytes, uint8_t length) {
    uint32_t value = 0;
    for (uint8_t i = 0; i < length; i++) {
        value |= ((uint32_t)bytes[i]) << (8 * i);
    }
    return value;
}

uint32_t little_endian_bytes_to_uint32(const uint8_t *bytes) {
    return little_endian_bytes_to_uint(bytes, 4);
}

uint16_t little_endian_bytes_to_uint16(const uint8_t *bytes) {
    return (uint16_t)little_endian_bytes_to_uint(bytes, 2);
}

uint8_t little_endian_bytes_to_uint8(const uint8_t *bytes) {
    return (uint8_t)little_endian_bytes_to_uint(bytes, 1);
}

float little_endian_bytes_to_float32(const uint8_t *bytes) {
    uint32_t raw = little_endian_bytes_to_uint32(bytes);
    float value;
    memcpy(&value, &raw, sizeof(value));
    return value;
}

void unpackGPSData(uint8_t * rxData) {
    uint32_t raw_speed = little_endian_bytes_to_uint32(&rxData[16]);
    controller.live.sailingState.linearVelocity = raw_speed / 3600; // speed in m/s
}

void unpackWindData(uint8_t * rxData) {
    uint16_t raw_wind_direction = little_endian_bytes_to_uint16(&rxData[0]);
    uint16_t raw_wind_speed = little_endian_bytes_to_uint16(&rxData[4]);
    controller.live.windState.windDirection = 360 - raw_wind_direction; // wind direction in degrees
    controller.live.windState.windSpeed = raw_wind_speed / 0.194384f; // wind speed in m/s
}

void unpackHeadingData(uint8_t * rxData) {
    uint32_t raw_heading = little_endian_bytes_to_uint32(&rxData[0]);
    printf("Raw heading: %lu \r\n", raw_heading);
    controller.live.sailingState.desiredHeading = ((float) raw_heading) / 1000; // heading in degrees
    printf("Command heading: %f \r\n", controller.live.sailingState.desiredHeading);
}

void unpackCoefficients(uint8_t * rxData) {
    // Unpack PID coefficients from rxData and set them in controller settings
    uint32_t raw_kp = little_endian_bytes_to_uint32(&rxData[0]);
    uint32_t raw_ki = little_endian_bytes_to_uint32(&rxData[4]);
    uint32_t raw_kd = little_endian_bytes_to_uint32(&rxData[8]);

    controller.fixed.standardCoeffs.Kp = raw_kp / 1000000.0f;
    controller.fixed.standardCoeffs.Ki = raw_ki / 1000000.0f;
    controller.fixed.standardCoeffs.Kd = raw_kd / 1000000.0f;

    printf("KP: %f\r\n", controller.fixed.standardCoeffs.Kp);
    printf("KI: %f\r\n", controller.fixed.standardCoeffs.Ki);
	printf("KD: %f\r\n", controller.fixed.standardCoeffs.Kd);
}

void unpackRudderParams(uint8_t * rxData) {
    uint8_t command_status = rxData[0];
    RudderParamId param_id = (RudderParamId)rxData[1];
    float value = little_endian_bytes_to_float32(&rxData[2]);

    if (setRudderParam(param_id, value)) {
        controller.fixed = getRudderFixedParams();
        printf("Set rudder param command %u id %u to %f\r\n", command_status, (unsigned int)param_id, value);
    } else {
        printf("Invalid rudder param command %u id %u value %f\r\n", command_status, (unsigned int)param_id, value);
    }
}

void processCANFrames(FDCAN_RxHeaderTypeDef *rxHeader, uint8_t *rxData) {
  // Need a switch based on rxHeader->Identifier
  // WITHIN EACH CASE, extract data from rxData and set variable in sailing state
	uint8_t length = dlc_to_bytes(RxHeader1.DataLength);
  switch(rxHeader->Identifier) {

    case 0x001:
        // Desired heading
    	if (length == 5){
    		if(RxData1[4] >> 7 == 1){
//    			printf("Manual Mode\r\n");
    			controller_mode = 1;
    			uint32_t rawSteeringCMD = little_endian_bytes_to_uint32(RxData1);
    			desiredRudderAngle = rawSteeringCMD / 1000.0f - 90;
    		} else {
//    			printf("Auto Mode\r\n");
    			if (controller_mode == 1){
    				controller.live.controllerState.lastTime = HAL_GetTick();
    				controller.live.controllerState.integralError = 0;
    				controller.live.controllerState.previousError = 0;
    			}
    			controller_mode = 0;
    			unpackHeadingData(rxData);
    		}
    	}

        break;

    // case 0x040: {
    //     // Wind data 1
    //     void unpackWindData(rxData) {
    // }

    case 0x041:
        // Wind data 2
    	if (length == 4) {
    		unpackWindData(rxData);
        break;
      }

//Won't get x070 frame this test
//    case 0x070:
//      //GPS Data
//      unpackGPSData(rxData);
//      break;

    case 0x200:
        // PID Coefficients
    	if (length == 12) {
    		unpackCoefficients(rxData);
        break;
      }

    case 0x210:
      // Generic Tunable Params
      if (length == 6) {
        unpackRudderParams(rxData);
        break;
      }

    default:
    	break;
  }
}

void HAL_FDCAN_RxFifo0Callback(FDCAN_HandleTypeDef *hfdcan, uint32_t RxFifo0ITs)
{
	  if((RxFifo0ITs & FDCAN_IT_RX_FIFO0_NEW_MESSAGE) != RESET)
	  {
    // Read message from RX FIFO 0. A failed read must not brick rudder control
    // or IMU servicing (e.g. a CAN glitch on the bench with no proper bus), so
    // count it and drop the frame instead of calling Error_Handler().
		if (HAL_FDCAN_GetRxMessage(hfdcan, FDCAN_RX_FIFO0, &RxHeader1, RxData1) != HAL_OK)
		{
			can_rx_failures++;
			return;
		}
     //Process the received message
    processCANFrames(&RxHeader1, RxData1);
	  }
}
/* USER CODE END 4 */

void Error_Handler(void)
{
  /* USER CODE BEGIN Error_Handler_Debug */
  /* User can add his own implementation to report the HAL error return state */
  __disable_irq();
  Disable_Motor();
  while (1)
  {
  }
  /* USER CODE END Error_Handler_Debug */
}
